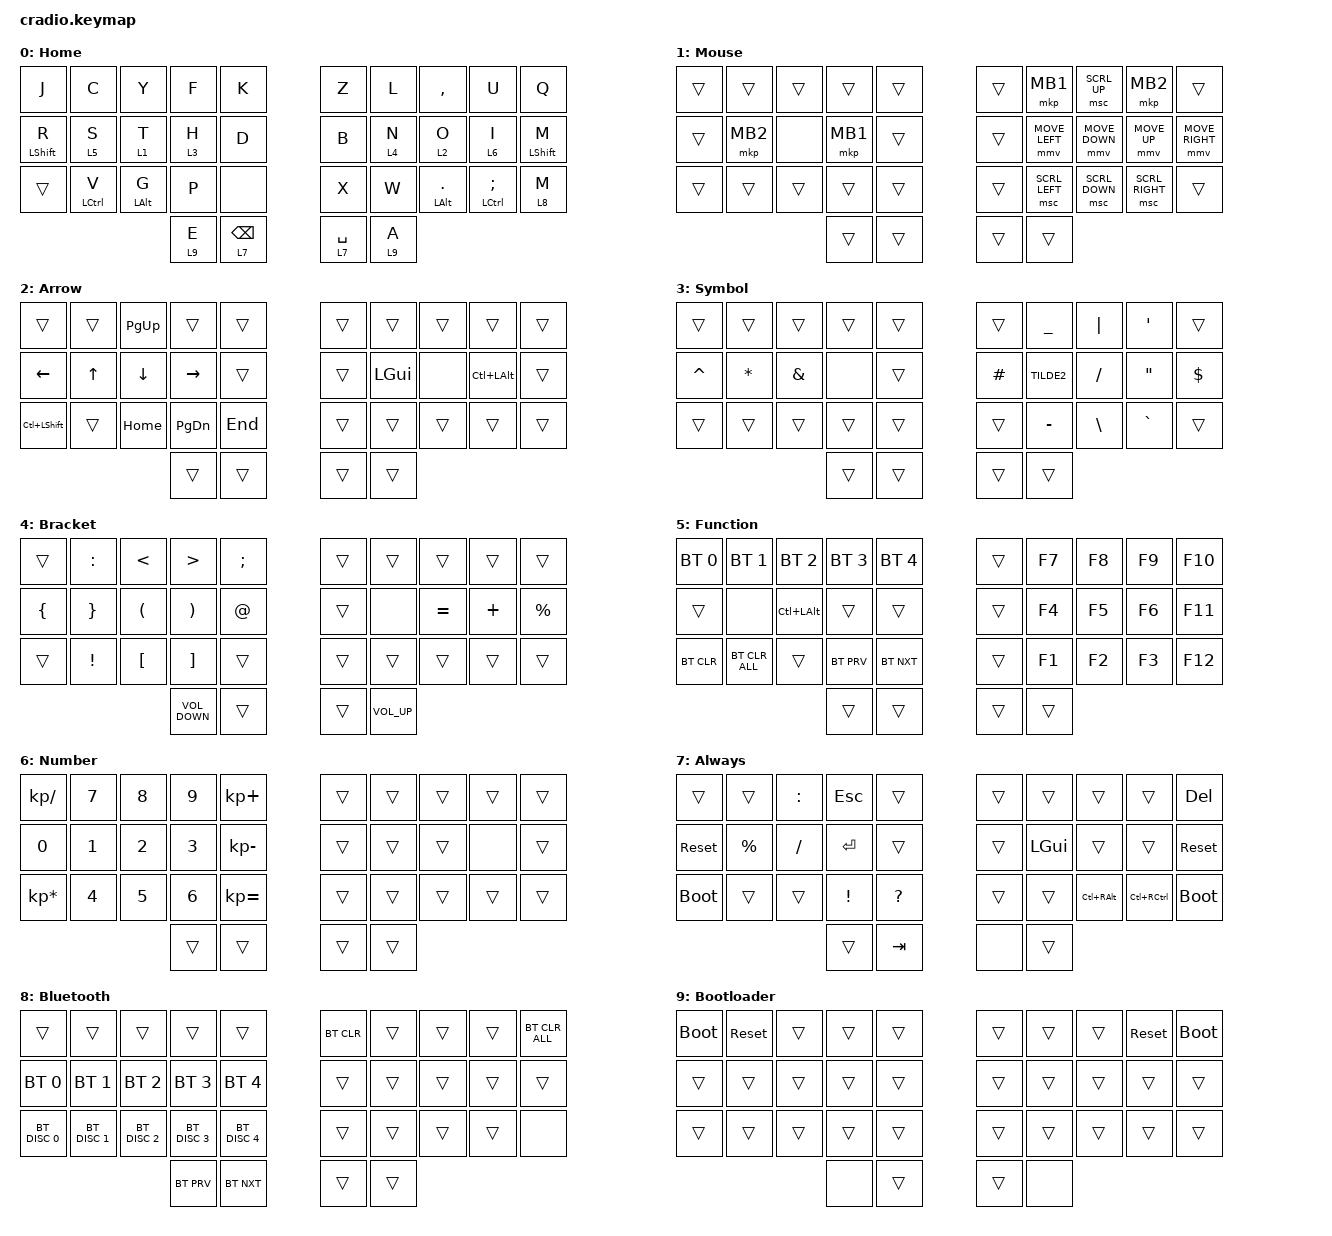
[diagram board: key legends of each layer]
/*
  * Copyright (c) 2020 The ZMK Contributors
  *
  * SPDX-License-Identifier: MIT
  */

#include <dt-bindings/zmk/mouse.h>
#include <behaviors.dtsi>
#include <dt-bindings/zmk/bt.h>
#include <dt-bindings/zmk/keys.h>

/ {
    keymap {
        compatible = "zmk,keymap";

        Home {
            bindings = <
&kp J             &kp C               &kp Y           &kp F    &kp K              &kp Z        &kp L    &kp COMMA         &kp U                       &kp Q
&mt LEFT_SHIFT R  &lt 5 S             &lt 1 T         &lt 3 H  &kp D              &kp B        &lt 4 N  &lt 2 O           &lt 6 I                     &mt LEFT_SHIFT M
&trans            &mt LEFT_CONTROL V  &mt LEFT_ALT G  &kp P    &none              &kp X        &kp W    &mt LEFT_ALT DOT  &mt LEFT_CONTROL SEMICOLON  &lt 8 M
                                                      &lt 9 E  &lt 7 BACKSPACE    &lt 7 SPACE  &lt 9 A
            >;
        };

        Mouse {
            bindings = <
&trans  &trans    &trans  &trans    &trans    &trans  &mkp MB1        &msc SCRL_UP    &mkp MB2         &trans
&trans  &mkp MB2  &none   &mkp MB1  &trans    &trans  &mmv MOVE_LEFT  &mmv MOVE_DOWN  &mmv MOVE_UP     &mmv MOVE_RIGHT
&trans  &trans    &trans  &trans    &trans    &trans  &msc SCRL_LEFT  &msc SCRL_DOWN  &msc SCRL_RIGHT  &trans
                          &trans    &trans    &trans  &trans
            >;
        };

        Arrow {
            bindings = <
&trans              &trans  &kp PAGE_UP  &trans         &trans     &trans  &trans        &trans  &trans            &trans
&kp LEFT            &kp UP  &kp DOWN     &kp RIGHT      &trans     &trans  &kp LEFT_GUI  &none   &kp LC(LEFT_ALT)  &trans
&kp LC(LEFT_SHIFT)  &trans  &kp HOME     &kp PAGE_DOWN  &kp END    &trans  &trans        &trans  &trans            &trans
                                         &trans         &trans     &trans  &trans
            >;
        };

        Symbol {
            bindings = <
&trans     &trans     &trans    &trans  &trans    &trans    &kp UNDER   &kp PIPE       &kp SINGLE_QUOTE  &trans
&kp CARET  &kp ASTRK  &kp AMPS  &none   &trans    &kp HASH  &kp TILDE2  &kp SLASH      &kp DQT           &kp DOLLAR
&trans     &trans     &trans    &trans  &trans    &trans    &kp MINUS   &kp BACKSLASH  &kp GRAVE         &trans
                                &trans  &trans    &trans    &trans
            >;
        };

        Bracket {
            bindings = <
&trans    &kp COLON  &kp LT            &kp GT             &kp SEMICOLON    &trans  &trans           &trans     &trans    &trans
&kp LBRC  &kp RBRC   &kp LPAR          &kp RPAR           &kp AT           &trans  &none            &kp EQUAL  &kp PLUS  &kp PERCENT
&trans    &kp EXCL   &kp LEFT_BRACKET  &kp RIGHT_BRACKET  &trans           &trans  &trans           &trans     &trans    &trans
                                       &kp C_VOLUME_DOWN  &trans           &trans  &kp C_VOLUME_UP
            >;
        };

        Function {
            bindings = <
&bt BT_SEL 0  &bt BT_SEL 1    &bt BT_SEL 2      &bt BT_SEL 3  &bt BT_SEL 4    &trans  &kp F7  &kp F8  &kp F9  &kp F10
&trans        &none           &kp LC(LEFT_ALT)  &trans        &trans          &trans  &kp F4  &kp F5  &kp F6  &kp F11
&bt BT_CLR    &bt BT_CLR_ALL  &trans            &bt BT_PRV    &bt BT_NXT      &trans  &kp F1  &kp F2  &kp F3  &kp F12
                                                &trans        &trans          &trans  &trans
            >;
        };

        Number {
            bindings = <
&kp KP_SLASH     &kp N7  &kp N8  &kp N9  &kp KP_PLUS     &trans  &trans  &trans  &trans  &trans
&kp N0           &kp N1  &kp N2  &kp N3  &kp KP_MINUS    &trans  &trans  &trans  &none   &trans
&kp KP_ASTERISK  &kp N4  &kp N5  &kp N6  &kp KP_EQUAL    &trans  &trans  &trans  &trans  &trans
                                 &trans  &trans          &trans  &trans
            >;
        };

        Always {
            bindings = <
&trans       &trans       &kp COLON  &kp ESCAPE  &trans          &trans  &trans        &trans             &trans                 &kp DELETE
&sys_reset   &kp PERCENT  &kp SLASH  &kp ENTER   &trans          &trans  &kp LEFT_GUI  &trans             &trans                 &sys_reset
&bootloader  &trans       &trans     &kp EXCL    &kp QUESTION    &trans  &trans        &kp LC(RIGHT_ALT)  &kp LC(RIGHT_CONTROL)  &bootloader
                                     &trans      &kp TAB         &none   &trans
            >;
        };

        Bluetooth {
            bindings = <
&trans         &trans         &trans         &trans         &trans           &bt BT_CLR  &trans  &trans  &trans  &bt BT_CLR_ALL
&bt BT_SEL 0   &bt BT_SEL 1   &bt BT_SEL 2   &bt BT_SEL 3   &bt BT_SEL 4     &trans      &trans  &trans  &trans  &trans
&bt BT_DISC 0  &bt BT_DISC 1  &bt BT_DISC 2  &bt BT_DISC 3  &bt BT_DISC 4    &trans      &trans  &trans  &trans  &none
                                             &bt BT_PRV     &bt BT_NXT       &trans      &trans
            >;
        };

        Bootloader {
            bindings = <
&bootloader  &sys_reset  &trans  &trans  &trans    &trans  &trans  &trans  &sys_reset  &bootloader
&trans       &trans      &trans  &trans  &trans    &trans  &trans  &trans  &trans      &trans
&trans       &trans      &trans  &trans  &trans    &trans  &trans  &trans  &trans      &trans
                                 &none   &trans    &trans  &none
            >;
        };
    };
};
